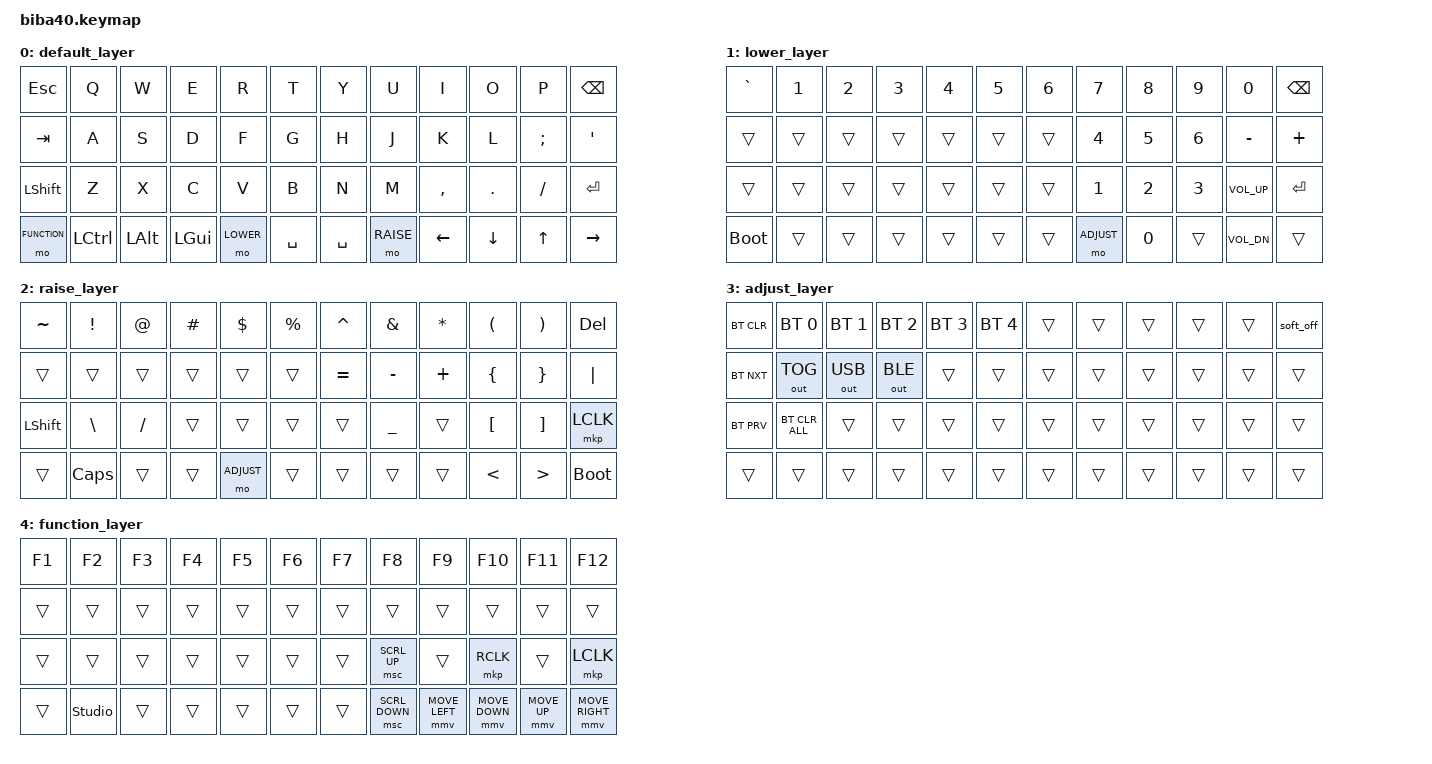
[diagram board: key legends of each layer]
/*
 * Copyright (c) 2020 The ZMK Contributors
 * BIBA2026
 * SPDX-License-Identifier: MIT
 */

#include <behaviors/mouse_keys.dtsi>

// Mouse movement and scroll ceilings

#define ZMK_POINTING_DEFAULT_MOVE_VAL 900
#define ZMK_POINTING_DEFAULT_SCRL_VAL 16

#include <behaviors.dtsi>
#include <dt-bindings/zmk/bt.h>
#include <dt-bindings/zmk/keys.h>
#include <dt-bindings/zmk/outputs.h>
#include <dt-bindings/zmk/pointing.h>

#define DEFAULT 0
#define LOWER  1
#define RAISE  2
#define ADJUST 3
#define FUNCTION 4

/* NOTE: At the time of the creation of this keymap, there are no specified codes for 'eisuu' and 'kana' input in ZMK.
However, 'LANG1' and 'LANG2' are fully-functioning candidates for 'kana' and 'eisuu' input respectively.
As such, those are in use within the default layer at this time.*/

&soft_off {
    hold-time-ms = <3000>; // Only turn off if the key is held for 3 seconds or longer.
};

// Mouse acceleration behavior (conservative: smooth but responsive)

&mmv {
    time-to-max-speed-ms = <900>;  // ~1.2s to reach max
    acceleration-exponent = <1>;    // balanced curve
};

&msc {
    time-to-max-speed-ms = <700>;
    acceleration-exponent = <1>;
};

/ {
    keymap {
        compatible = "zmk,keymap";

        default_layer {
            // ---------------------------------------------------------------------------------------------------------------------------------
            // |  ESC   |   Q    |   W    |   E    |   R    |   T    |                                      |   Y    |   U    |   I    |   O    |   P    |  BSPC  |
            // |  TAB  |   A    |   S    |   D    |   F    |   G    |                                      |   H    |   J    |   K    |   L    |   ;    |   "    |
            // |  SHIFT |   Z    |   X    |   C    |   V    |   B    |                                      |   N    |   M    |   ,    |   .    |   UP   |  ENTER |
            // |  FUNC |  CTRL  |  LALT  |  LGUI  | LOWER  | SPACE  |                                      | SPACE  |  RAISE |  SLASH |  LEFT  |  DOWN  |  RIGHT |
            // ---------------------------------------------------------------------------------------------------------------------------------

            bindings = <
&kp ESC       &kp Q      &kp W     &kp E     &kp R      &kp T      &kp Y      &kp U      &kp I           &kp O       &kp P         &kp BSPC
&kp TAB       &kp A      &kp S     &kp D     &kp F      &kp G      &kp H      &kp J      &kp K           &kp L       &kp SEMI      &kp SQT
&kp LSHFT     &kp Z      &kp X     &kp C     &kp V      &kp B      &kp N      &kp M      &kp COMMA       &kp PERIOD  &kp SLASH     &kp ENTER
&mo FUNCTION  &kp LCTRL  &kp LALT  &kp LGUI  &mo LOWER  &kp SPACE  &kp SPACE  &mo RAISE  &kp LEFT_ARROW  &kp DOWN    &kp UP_ARROW  &kp RIGHT
            >;
        };

        lower_layer {
            // -----------------------------------------------------------------------------------------------------------------------------
            // |  `   |  1   |  2   |  3   |  4   |  5   |                              |  6   |  7   |  8   |  9   |  0   | BSPC |
            // |      |      |      |      |      |      |                              |      |  4   |  5   |  6   |  -   |   +  |
            // |      |      |      |      |      |      |                              |      |  1   |  2   |  3   |VOL U | ENTER|
            // | BOOT |      |      |      |      |      |                              |      |      |  0   |      |VOL D |      |
            // -----------------------------------------------------------------------------------------------------------------------------

            bindings = <
&kp GRAVE    &kp N1  &kp N2  &kp N3  &kp N4  &kp N5  &kp N6  &kp N7      &kp N8  &kp N9  &kp N0        &kp BSPC
&trans       &trans  &trans  &trans  &trans  &trans  &trans  &kp N4      &kp N5  &kp N6  &kp MINUS     &kp PLUS
&trans       &trans  &trans  &trans  &trans  &trans  &trans  &kp N1      &kp N2  &kp N3  &kp C_VOL_UP  &kp ENTER
&bootloader  &trans  &trans  &trans  &trans  &trans  &trans  &mo ADJUST  &kp N0  &trans  &kp C_VOL_DN  &trans
            >;
        };

        raise_layer {
            // -----------------------------------------------------------------------------------------------------------------------------
            // |   ~   |   !   |   @   |   #   |   $   |   %   |                          |   ^   |   &   |   *   |   (   |   )   |  DEL  |
            // |       |       |       |       |       |       |                          |       |   -   |   =   |   [   |   ]   |   \   |
            // |       |       |       |       |       |       |                          |       |       |       | LBKT  | RBKT  |  LCLK |
            // |       |       |       |       |       |       |                          |       |       |       |  LT   |  GT   | BOOT  |
            // -----------------------------------------------------------------------------------------------------------------------------

            bindings = <
&kp TILDE  &kp EXCL  &kp AT    &kp HASH  &kp DLLR    &kp PRCNT  &kp CARET  &kp AMPS        &kp ASTRK  &kp LPAR  &kp RPAR  &kp DEL
&trans     &trans    &trans    &trans    &trans      &trans     &kp EQUAL  &kp MINUS       &kp PLUS   &kp LBRC  &kp RBRC  &kp PIPE
&kp LSHFT  &kp BSLH  &kp FSLH  &trans    &trans      &trans     &trans     &kp UNDERSCORE  &trans     &kp LBKT  &kp RBKT  &mkp LCLK
&trans     &kp CAPS  &trans    &trans    &mo ADJUST  &trans     &trans     &trans          &trans     &kp LT    &kp GT    &bootloader
            >;
        };

        adjust_layer {
            // -----------------------------------------------------------------------------------------------------------------------------
            // |  BT CLR  | BT SEL0 | BT SEL1 | BT SEL2 | BT SEL3 | BT SEL4 |                    |          |          |          |          |          | SOFF |
            // |  BT NXT  | OUT TOG | OUT USB | OUT BLE |         |         |                    |          |          |          |          |          |      |
            // |  BT PRV  | CLR ALL |         |         |         |         |                    |          |          |          |          |          |      |
            // |          |         |         |         |         |         |                    |          |          |          |          |          |      |
            // -----------------------------------------------------------------------------------------------------------------------------

            bindings = <
&bt BT_CLR  &bt BT_SEL 0    &bt BT_SEL 1  &bt BT_SEL 2  &bt BT_SEL 3  &bt BT_SEL 4  &trans  &trans  &trans  &trans  &trans  &soft_off
&bt BT_NXT  &out OUT_TOG    &out OUT_USB  &out OUT_BLE  &trans        &trans        &trans  &trans  &trans  &trans  &trans  &trans
&bt BT_PRV  &bt BT_CLR_ALL  &trans        &trans        &trans        &trans        &trans  &trans  &trans  &trans  &trans  &trans
&trans      &trans          &trans        &trans        &trans        &trans        &trans  &trans  &trans  &trans  &trans  &trans
            >;
        };

        function_layer {
            // -----------------------------------------------------------------------------------------------------------------------------
            // |   F1   |   F2   |   F3   |   F4   |   F5   |   F6   |                          |   F7   |   F8   |   F9   |   F10  |   F11  |   F12  |
            // |        |        |        |        |        |        |                          |        |        |        |        |        |        |
            // |        |        |        |        |        |        |                          |        |        | SCRL↑ |  RCLK  |   UP   |  LCLK  |
            // |        |        |        |        |        |        |                          |        |        | SCRL↓ |  LEFT  |  DOWN  |  RIGHT |
            // -----------------------------------------------------------------------------------------------------------------------------

            bindings = <
&kp F1  &kp F2          &kp F3  &kp F4  &kp F5  &kp F6  &kp F7  &kp F8          &kp F9          &kp F10         &kp F11       &kp F12
&trans  &trans          &trans  &trans  &trans  &trans  &trans  &trans          &trans          &trans          &trans        &trans
&trans  &trans          &trans  &trans  &trans  &trans  &trans  &msc SCRL_UP    &trans          &mkp RCLK       &trans        &mkp LCLK
&trans  &studio_unlock  &trans  &trans  &trans  &trans  &trans  &msc SCRL_DOWN  &mmv MOVE_LEFT  &mmv MOVE_DOWN  &mmv MOVE_UP  &mmv MOVE_RIGHT
            >;
        };
    };
};
